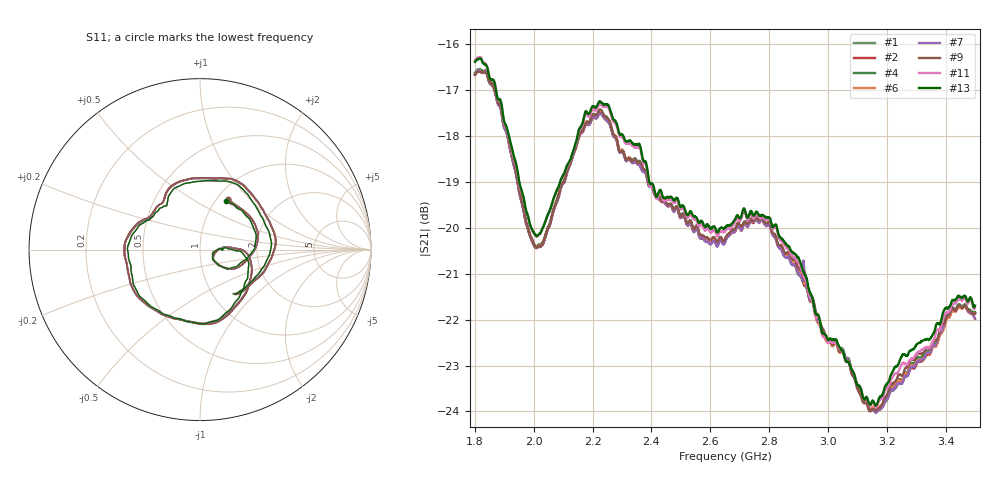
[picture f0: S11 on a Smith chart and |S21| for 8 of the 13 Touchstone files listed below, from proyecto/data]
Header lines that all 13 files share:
! Created with skrf 1.9.0 (http://scikit-rf.org).
# Hz S RI R 50.0
!freq ReS11 ImS11 ReS21 ImS21 ReS12 ImS12 ReS22 ImS22
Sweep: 1.8 GHz to 3.5 GHz
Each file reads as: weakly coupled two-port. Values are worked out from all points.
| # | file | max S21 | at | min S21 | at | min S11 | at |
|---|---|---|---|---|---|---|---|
| 1 | A19_D05_B2_O000_corrected.s2p | -16.59 dB | 1.812 GHz | -24.0 dB | 3.161 GHz | -21.4 dB | 2.09 GHz |
| 2 | A19_D05_B2_O240_corrected.s2p | -16.57 dB | 1.811 GHz | -24.0 dB | 3.162 GHz | -21.4 dB | 2.09 GHz |
| 3 | A19_D06_B2_O120_corrected.s2p | -16.55 dB | 1.814 GHz | -23.9 dB | 3.163 GHz | -21.2 dB | 2.09 GHz |
| 4 | A19_D06_B2_O240_corrected.s2p | -16.55 dB | 1.815 GHz | -24.0 dB | 3.164 GHz | -21.3 dB | 2.09 GHz |
| 5 | A19_D07_B2_O000_corrected.s2p | -16.58 dB | 1.812 GHz | -24.0 dB | 3.164 GHz | -21.3 dB | 2.09 GHz |
| 6 | A19_D07_B2_O120_corrected.s2p | -16.56 dB | 1.812 GHz | -24.0 dB | 3.163 GHz | -21.2 dB | 2.09 GHz |
| 7 | A19_D07_B2_O240_corrected.s2p | -16.56 dB | 1.812 GHz | -24.0 dB | 3.162 GHz | -21.3 dB | 2.09 GHz |
| 8 | A19_D08_B2_O000_corrected.s2p | -16.62 dB | 1.812 GHz | -24.0 dB | 3.144 GHz | -21.1 dB | 2.09 GHz |
| 9 | A19_D08_B2_O120_corrected.s2p | -16.60 dB | 1.812 GHz | -24.0 dB | 3.144 GHz | -21.1 dB | 2.09 GHz |
| 10 | A20_D01_B2_O120_corrected.s2p | -16.09 dB | 1.81 GHz | -23.7 dB | 3.163 GHz | -22.7 dB | 2.093 GHz |
| 11 | A20_D02_B2_O000_corrected.s2p | -16.29 dB | 1.816 GHz | -23.9 dB | 3.163 GHz | -22.5 dB | 2.091 GHz |
| 12 | A20_D02_B2_O120_corrected.s2p | -16.25 dB | 1.817 GHz | -23.8 dB | 3.163 GHz | -22.7 dB | 2.092 GHz |
| 13 | A20_D02_B2_O240_corrected.s2p | -16.32 dB | 1.817 GHz | -23.9 dB | 3.162 GHz | -22.3 dB | 2.09 GHz |
